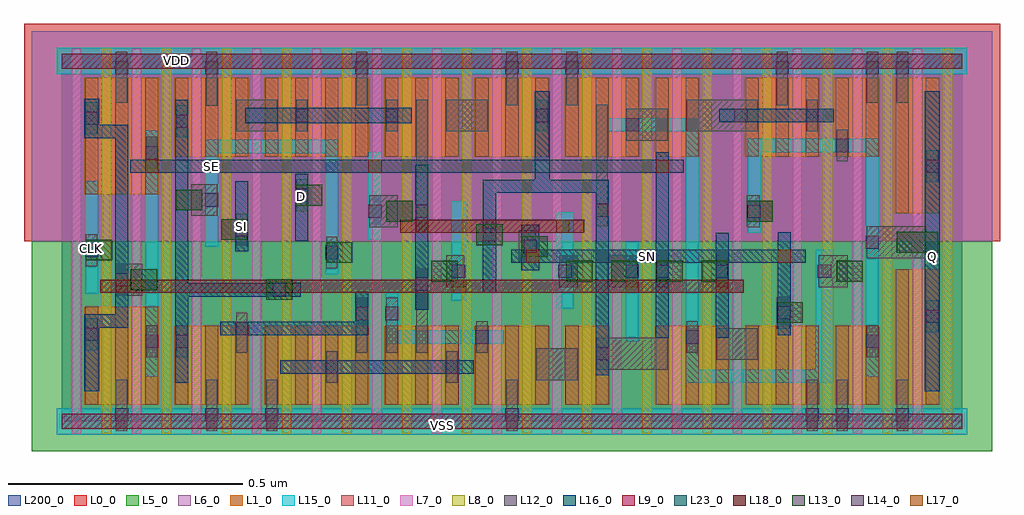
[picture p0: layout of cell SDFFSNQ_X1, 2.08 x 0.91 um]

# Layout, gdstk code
import gdstk
lib = gdstk.Library(unit=1e-6, precision=1e-09)
def R(c, l, rs):  # rectangles x0, y0, x1, y1
    for r in rs: c.add(gdstk.rectangle(r[:2], r[2:], *l))
def A(c, l, x, y, w, h, nx, ny, dx, dy):  # array of equal rectangles
    R(c, l, [(x+i*dx, y+j*dy, x+i*dx+w, y+j*dy+h) for i in range(nx) for j in range(ny)])
def P(c, l, *ps):  # polygons
    for p in ps: c.add(gdstk.Polygon(p, *l))
L0_0 = (0, 0)
L1_0 = (1, 0)
L5_0 = (5, 0)
L6_0 = (6, 0)
L7_0 = (7, 0)
L8_0 = (8, 0)
L9_0 = (9, 0)
L11_0 = (11, 0)
L12_0 = (12, 0)
L13_0 = (13, 0)
L14_0 = (14, 0)
L15_0 = (15, 0)
L16_0 = (16, 0)
L17_0 = (17, 0)
L18_0 = (18, 0)
L23_0 = (23, 0)
L200_0 = (200, 0)

sdffsnq_x1 = lib.new_cell('SDFFSNQ_X1')
R(sdffsnq_x1, L0_0, [(-0.08,0.384,2,0.848)])
A(sdffsnq_x1, L1_0, 0.688, 0.564, 0.16, 0.168, 3, 1, 0.192, 0)
R(sdffsnq_x1, L1_0, [(0.048,0.036,0.208,0.244), (0.24,0.036,0.4,0.204), (0.432,0.036,0.656,0.204), (0.688,0.036,0.848,0.204), (0.88,0.036,1.04,0.204), (1.072,0.036,1.168,0.204), (1.264,0.036,1.424,0.204), (1.456,0.036,1.616,0.204), (1.648,0.036,1.744,0.204), (1.776,0.036,1.872,0.324), (1.776,0.444,1.872,0.732), (0.048,0.484,0.208,0.732), (0.24,0.564,0.4,0.732), (0.432,0.564,0.656,0.732), (1.264,0.564,1.36,0.732), (1.456,0.564,1.616,0.732), (1.648,0.564,1.744,0.732)])
R(sdffsnq_x1, L5_0, [(-0.064,-0.064,1.984,0.384)])
R(sdffsnq_x1, L6_0, [(-0.064,0.384,1.984,0.832)])
A(sdffsnq_x1, L7_0, 0.022, -0.026, 0.02, 0.82, 15, 1, 0.128, 0)
A(sdffsnq_x1, L8_0, 0.086, -0.026, 0.02, 0.82, 15, 1, 0.128, 0)
R(sdffsnq_x1, L9_0, [(0,-0.016,1.92,0.016), (0,0.752,1.92,0.784)])
A(sdffsnq_x1, L11_0, 0.05, 0.036, 0.028, 0.208, 3, 1, 0.064, 0)
A(sdffsnq_x1, L11_0, 0.242, 0.036, 0.028, 0.168, 15, 1, 0.064, 0)
A(sdffsnq_x1, L11_0, 1.266, 0.036, 0.028, 0.168, 8, 1, 0.064, 0)
A(sdffsnq_x1, L11_0, 0.05, 0.484, 0.028, 0.248, 3, 1, 0.064, 0)
A(sdffsnq_x1, L11_0, 0.242, 0.564, 0.028, 0.168, 18, 1, 0.064, 0)
A(sdffsnq_x1, L11_0, 1.458, 0.564, 0.028, 0.168, 5, 1, 0.064, 0)
R(sdffsnq_x1, L11_0, [(1.778,0.036,1.806,0.324), (1.842,0.036,1.87,0.324), (1.778,0.444,1.806,0.732), (1.842,0.444,1.87,0.732)])
R(sdffsnq_x1, L12_0, [(0.116,-0.02,0.14,0.089), (0.308,-0.02,0.332,0.089), (0.436,-0.02,0.46,0.089), (0.948,-0.02,0.972,0.089), (1.588,-0.02,1.612,0.089), (1.652,-0.02,1.676,0.089), (1.78,-0.02,1.804,0.089), (0.564,0.082,0.588,0.15), (0.82,0.082,0.844,0.15), (1.012,0.088,1.1,0.156), (1.14,0.11,1.292,0.178), (1.396,0.131,1.484,0.199), (0.18,0.137,0.204,0.205), (0.244,0.137,0.268,0.205), (1.716,0.137,1.74,0.205), (0.372,0.146,0.396,0.232), (0.628,0.146,0.652,0.264), (0.692,0.146,0.716,0.264), (0.756,0.146,0.78,0.327), (0.884,0.146,0.908,0.214), (1.332,0.146,1.356,0.214), (0.052,0.152,0.076,0.22), (1.844,0.19,1.868,0.258), (1.524,0.198,1.552,0.266), (0.116,0.268,0.172,0.336), (0.82,0.286,0.858,0.354), (1.061,0.286,1.1,0.354), (1.163,0.286,1.228,0.354), (1.268,0.286,1.292,0.354), (1.396,0.286,1.42,0.354), (1.614,0.286,1.676,0.354), (0.564,0.326,0.588,0.394), (0.052,0.331,0.076,0.399), (0.974,0.339,1.011,0.407), (1.716,0.348,1.843,0.416), (0.372,0.375,0.396,0.443), (0.756,0.402,0.78,0.686), (0.656,0.414,0.716,0.482), (1.46,0.414,1.488,0.482), (1.14,0.416,1.164,0.675), (0.276,0.438,0.332,0.506), (0.5,0.448,0.524,0.516), (1.844,0.51,1.868,0.578), (0.18,0.539,0.204,0.607), (1.652,0.554,1.676,0.622), (1.204,0.598,1.292,0.666), (0.244,0.606,0.268,0.674), (0.052,0.612,0.076,0.68), (0.372,0.618,0.46,0.686), (0.5,0.618,0.524,0.686), (0.692,0.618,0.716,0.686), (0.82,0.618,0.908,0.686), (1.012,0.618,1.036,0.686), (1.332,0.618,1.484,0.686), (1.588,0.618,1.612,0.686), (0.308,0.673,0.332,0.788), (0.628,0.674,0.652,0.788), (0.948,0.674,0.972,0.788), (1.076,0.674,1.1,0.788), (1.524,0.674,1.548,0.788), (0.116,0.679,0.14,0.788), (1.716,0.679,1.74,0.788), (1.78,0.679,1.804,0.788)])
A(sdffsnq_x1, L13_0, 1.076, 0.298, 0.056, 0.044, 4, 1, 0.096, 0)
R(sdffsnq_x1, L13_0, [(1.524,0.21,1.58,0.254), (0.436,0.259,0.492,0.303), (0.148,0.28,0.204,0.324), (0.788,0.298,0.844,0.342), (1.652,0.298,1.708,0.342), (0.564,0.338,0.62,0.382), (0.052,0.343,0.108,0.387), (0.98,0.351,1.036,0.395), (1.78,0.36,1.868,0.404), (0.884,0.376,0.94,0.42), (0.34,0.387,0.396,0.431), (0.692,0.426,0.748,0.47), (1.46,0.426,1.516,0.47), (0.244,0.45,0.3,0.494), (0.5,0.46,0.556,0.504)])
A(sdffsnq_x1, L14_0, 0.306, 0.74, 0.028, 0.028, 3, 1, 0.32, 0)
R(sdffsnq_x1, L14_0, [(0.114,0,0.142,0.028), (0.306,0,0.334,0.028), (0.434,0,0.462,0.028), (0.946,0,0.974,0.028), (1.586,0,1.614,0.028), (1.65,0,1.678,0.028), (1.778,0,1.806,0.028), (0.562,0.102,0.59,0.13), (0.818,0.102,0.846,0.13), (1.138,0.13,1.166,0.158), (0.178,0.157,0.206,0.185), (0.242,0.157,0.27,0.185), (1.714,0.157,1.742,0.185), (0.882,0.166,0.91,0.194), (1.33,0.166,1.358,0.194), (0.05,0.172,0.078,0.2), (0.37,0.184,0.398,0.212), (1.842,0.21,1.87,0.238), (0.626,0.216,0.654,0.244), (0.69,0.216,0.718,0.244), (1.526,0.218,1.554,0.246), (0.45,0.267,0.478,0.295), (0.754,0.279,0.782,0.307), (0.114,0.288,0.142,0.316), (0.832,0.306,0.86,0.334), (1.059,0.306,1.087,0.334), (1.202,0.306,1.23,0.334), (1.266,0.306,1.294,0.334), (1.394,0.306,1.422,0.334), (1.612,0.306,1.64,0.334), (0.562,0.346,0.59,0.374), (0.05,0.351,0.078,0.379), (0.985,0.359,1.013,0.387), (1.714,0.368,1.742,0.396), (0.898,0.384,0.926,0.412), (0.37,0.395,0.398,0.423), (0.654,0.434,0.682,0.462), (0.754,0.434,0.782,0.462), (1.462,0.434,1.49,0.462), (1.138,0.436,1.166,0.464), (0.306,0.458,0.334,0.486), (0.498,0.468,0.526,0.496), (1.842,0.53,1.87,0.558), (0.178,0.559,0.206,0.587), (1.65,0.574,1.678,0.602), (1.202,0.618,1.23,0.646), (0.242,0.626,0.27,0.654), (0.05,0.632,0.078,0.66), (0.498,0.638,0.526,0.666), (0.69,0.638,0.718,0.666), (1.01,0.638,1.038,0.666), (1.434,0.638,1.462,0.666), (1.586,0.638,1.614,0.666), (0.114,0.74,0.142,0.768), (1.074,0.74,1.102,0.768), (1.522,0.74,1.55,0.768), (1.714,0.74,1.742,0.768), (1.778,0.74,1.806,0.768)])
R(sdffsnq_x1, L15_0, [(-0.01,-0.028,1.93,0.028), (0.178,0.096,0.206,0.619), (1.202,0.171,1.23,0.383), (1.054,0.24,1.092,0.446), (0.83,0.257,0.862,0.469), (0.05,0.272,0.078,0.512), (0.654,0.387,0.682,0.574), (-0.01,0.74,1.93,0.796)])
P(sdffsnq_x1, L15_0, [(0.306,0.372),(0.334,0.372),(0.334,0.572),(0.562,0.572),(0.562,0.314),(0.59,0.314),(0.59,0.6),(0.306,0.6)],
  [(0.69,0.166),(0.942,0.166),(0.942,0.194),(0.718,0.194),(0.718,0.276),(0.69,0.276)],
  [(1.165,0.618),(1.33,0.618),(1.33,0.082),(1.645,0.082),(1.645,0.366),(1.607,0.366),(1.607,0.11),(1.358,0.11),(1.358,0.646),(1.165,0.646)],
  [(1.462,0.402),(1.49,0.402),(1.49,0.574),(1.714,0.574),(1.714,0.096),(1.742,0.096),(1.742,0.602),(1.462,0.602)])
R(sdffsnq_x1, L16_0, [(1.84,0.064,1.872,0.704), (0.466,0.102,0.878,0.13), (1.266,0.178,1.294,0.574), (1.394,0.178,1.422,0.402), (1.526,0.184,1.554,0.403), (0.754,0.238,0.782,0.547), (0.98,0.322,1.018,0.419), (0.37,0.363,0.398,0.512), (0.498,0.384,0.526,0.528), (0.392,0.636,0.746,0.668), (1.402,0.638,1.646,0.666)])
P(sdffsnq_x1, L16_0, [(0.048,0.604),(0.114,0.604),(0.114,0.228),(0.048,0.228),(0.048,0.064),(0.08,0.064),(0.08,0.2),(0.142,0.2),(0.142,0.632),(0.08,0.632),(0.08,0.688),(0.048,0.688)],
  [(0.242,0.082),(0.27,0.082),(0.27,0.266),(0.51,0.266),(0.51,0.296),(0.434,0.296),(0.434,0.295),(0.27,0.295),(0.27,0.686),(0.242,0.686)],
  [(0.338,0.184),(0.654,0.184),(0.654,0.276),(0.626,0.276),(0.626,0.212),(0.338,0.212)],
  [(0.898,0.274),(0.926,0.274),(0.926,0.487),(1.138,0.487),(1.138,0.098),(1.166,0.098),(1.166,0.515),(1.04,0.515),(1.04,0.704),(1.008,0.704),(1.008,0.515),(0.898,0.515)])
R(sdffsnq_x1, L17_0, [(0.114,0.274,0.142,0.302), (0.834,0.274,0.862,0.302), (1.202,0.274,1.23,0.302), (1.394,0.274,1.422,0.302), (0.99,0.338,1.018,0.366), (1.526,0.338,1.554,0.366), (0.754,0.402,0.782,0.43), (1.054,0.402,1.082,0.43), (0.178,0.53,0.206,0.558), (0.654,0.53,0.682,0.558), (1.266,0.53,1.294,0.558)])
R(sdffsnq_x1, L18_0, [(0.082,0.274,1.454,0.302), (0.722,0.402,1.114,0.43)])
R(sdffsnq_x1, L23_0, [(0.958,0.338,1.586,0.366), (0.146,0.53,1.326,0.558)])
R(sdffsnq_x1, L200_0, [(0,0,1.92,0.768)])
sdffsnq_x1.add(gdstk.Label('VSS', (0.812,-0.009), layer=15, texttype=20))
sdffsnq_x1.add(gdstk.Label('CLK', (0.064,0.368), layer=15, texttype=20))
sdffsnq_x1.add(gdstk.Label('SE', (0.32,0.544), layer=15, texttype=20))
sdffsnq_x1.add(gdstk.Label('VDD', (0.246,0.769), layer=15, texttype=20))
sdffsnq_x1.add(gdstk.Label('Q', (1.856,0.352), layer=16, texttype=20))
sdffsnq_x1.add(gdstk.Label('SI', (0.384,0.416), layer=16, texttype=20))
sdffsnq_x1.add(gdstk.Label('D', (0.512,0.48), layer=16, texttype=20))
sdffsnq_x1.add(gdstk.Label('SN', (1.248,0.352), layer=23, texttype=20))

lib.write_gds('SDFFSNQ_X1.gds')
